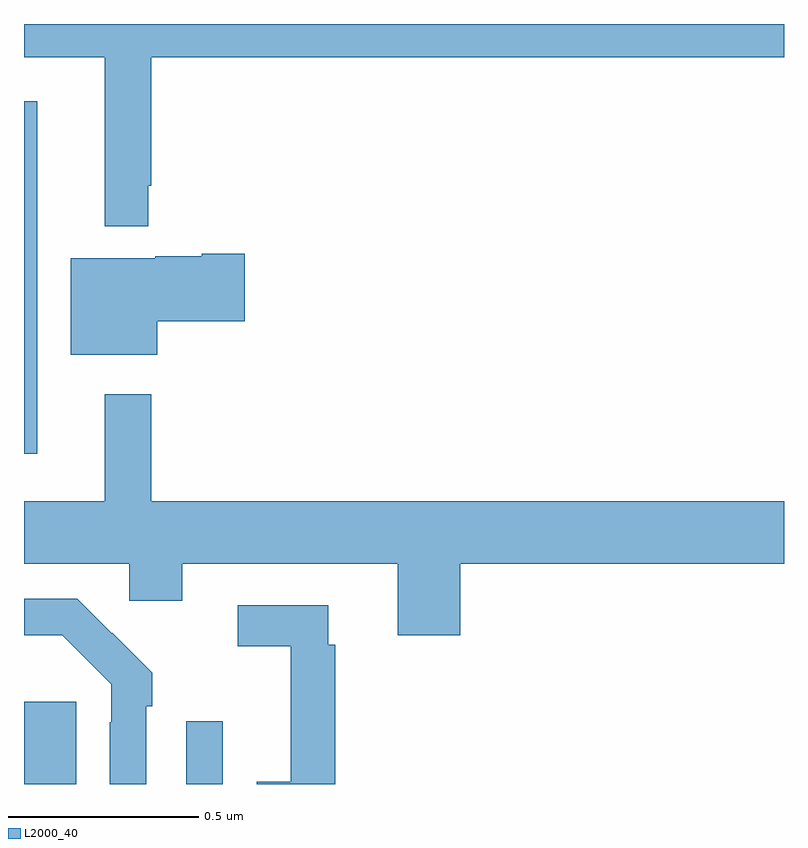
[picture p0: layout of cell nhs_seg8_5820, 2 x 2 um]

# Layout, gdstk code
import gdstk
lib = gdstk.Library(unit=1e-6, precision=1e-09)
def R(c, l, rs):  # rectangles x0, y0, x1, y1
    for r in rs: c.add(gdstk.rectangle(r[:2], r[2:], *l))
def P(c, l, *ps):  # polygons
    for p in ps: c.add(gdstk.Polygon(p, *l))
L2000_40 = (2000, 40)

nhs_seg8_5820 = lib.new_cell('nhs_seg8_5820')
R(nhs_seg8_5820, L2000_40, [(188,1135.9,188.137,1136.116), (188.427,1135.9,188.523,1136.065), (188,1136.769,188.035,1137.697)])
P(nhs_seg8_5820, L2000_40, [(190,1137.9),(188,1137.9),(188,1137.812),(188.213,1137.812),(188.213,1137.368),(188.327,1137.368),(188.327,1137.475),(188.335,1137.475),(188.335,1137.812),(190,1137.812)],
  [(188.35,1137.118),(188.581,1137.118),(188.581,1137.296),(188.468,1137.296),(188.468,1137.289),(188.346,1137.289),(188.346,1137.283),(188.123,1137.283),(188.123,1137.029),(188.35,1137.029)],
  [(189.148,1136.48),(190,1136.48),(190,1136.644),(188.335,1136.644),(188.335,1136.926),(188.213,1136.926),(188.213,1136.644),(188,1136.644),(188,1136.48),(188.277,1136.48),(188.277,1136.382),(188.416,1136.382),(188.416,1136.48),(188.984,1136.48),(188.984,1136.292),(189.148,1136.292)],
  [(188.322,1136.105),(188.337,1136.105),(188.337,1136.193),(188.232,1136.298),(188.231,1136.297),(188.14,1136.388),(188,1136.388),(188,1136.292),(188.101,1136.292),(188.229,1136.163),(188.229,1136.063),(188.226,1136.063),(188.226,1135.9),(188.322,1135.9)],
  [(188.819,1136.267),(188.801,1136.267),(188.801,1136.37),(188.562,1136.37),(188.562,1136.262),(188.702,1136.262),(188.702,1135.906),(188.612,1135.906),(188.612,1135.9),(188.819,1135.9)])

lib.write_gds('nhs_seg8_5820.gds')
